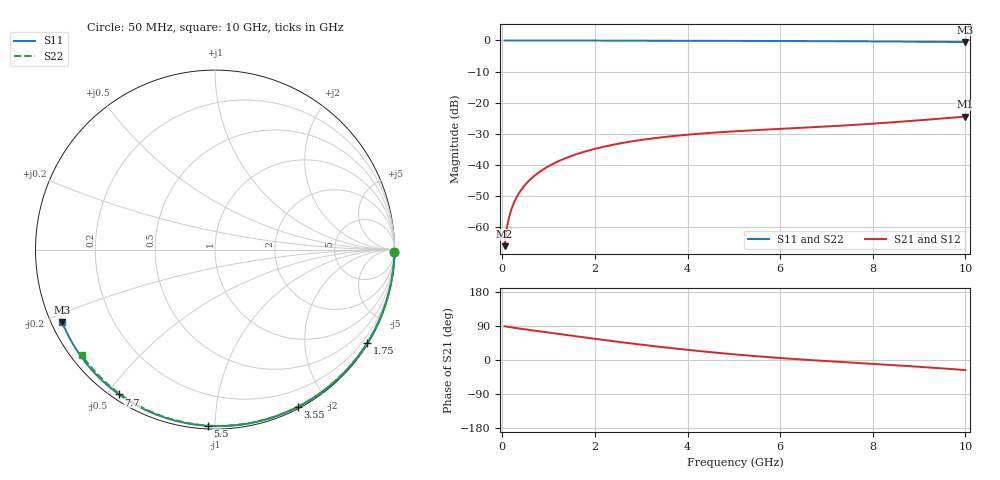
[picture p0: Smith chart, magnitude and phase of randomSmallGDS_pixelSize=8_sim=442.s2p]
! freq	dB(S11)	phase(S11)	dB(S12)	phase(S12)
!  dB(S21)	phase(S21)	dB(S22)	phase(S22)
!S-par simulation data
#  GHz  S  DB  R 50
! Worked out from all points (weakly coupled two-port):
!   200 points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, 50 MHz to 10 GHz, reference 50 ohm
!   highest |S21| = -24.48 dB at 10 GHz (marker M1); lowest = -66.1 dB at 50 MHz (marker M2)
!   lowest |S11| = -0.5 dB at 10 GHz (marker M3), VSWR 33.70, Z = 1.56 - j11.2 ohm
!   |S11| at or under -10 dB: nowhere
!   |S22| runs from -0.5 to 0.0 dB; largest |S21 - S12| = 0
!   S11 on the Smith chart (normalised r, x): 50 MHz: open; 1.75 GHz: 0.03, -3.54; 3.55 GHz: 0.02, -1.66; 5.5 GHz: 0.02, -0.96; 7.7 GHz: 0.02, -0.54; 10 GHz: 0.03, -0.22
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0.05  -0.00 -0.9  -66.14 88.9  -66.14 88.9  -0.00 -0.8
0.1  -0.00 -1.8  -60.13 87.9  -60.13 87.9  -0.00 -1.7
0.15  -0.00 -2.8  -56.63 86.9  -56.63 86.9  -0.00 -2.5
0.2  -0.00 -3.7  -54.15 86.0  -54.15 86.0  -0.00 -3.3
0.25  -0.00 -4.6  -52.23 85.1  -52.23 85.1  -0.00 -4.2
0.35  -0.00 -6.4  -49.35 83.3  -49.35 83.3  -0.00 -5.9
0.5  -0.01 -9.2  -46.30 80.8  -46.30 80.8  -0.01 -8.3
0.7  -0.01 -12.8  -43.44 77.4  -43.44 77.4  -0.01 -11.7
1  -0.02 -18.2  -40.43 72.4  -40.43 72.4  -0.02 -16.6
1.35  -0.03 -24.5  -37.95 66.5  -37.95 66.5  -0.03 -22.3
1.75  -0.04 -31.5  -35.87 59.9  -35.87 59.9  -0.04 -28.8
2.5  -0.06 -44.6  -33.21 48.0  -33.21 48.0  -0.05 -40.7
3.4  -0.08 -59.7  -31.21 34.8  -31.21 34.8  -0.08 -54.6
3.55  -0.09 -62.1  -30.95 32.7  -30.95 32.7  -0.08 -56.8
4.3  -0.11 -74.1  -29.93 23.0  -29.93 23.0  -0.10 -67.9
5.05  -0.13 -85.7  -29.18 14.5  -29.18 14.5  -0.12 -78.6
5.5  -0.15 -92.4  -28.81 9.9  -28.81 9.9  -0.14 -84.8
6.7  -0.22 -109.7  -27.90 -0.6  -27.90 -0.6  -0.20 -100.8
7.7  -0.28 -123.5  -27.05 -8.0  -27.05 -8.0  -0.26 -113.5
8.35  -0.34 -132.4  -26.39 -12.8  -26.39 -12.8  -0.31 -121.6
9.2  -0.42 -143.8  -25.44 -19.5  -25.44 -19.5  -0.39 -132.0
10  -0.52 -154.7  -24.48 -26.5  -24.48 -26.5  -0.48 -141.7
